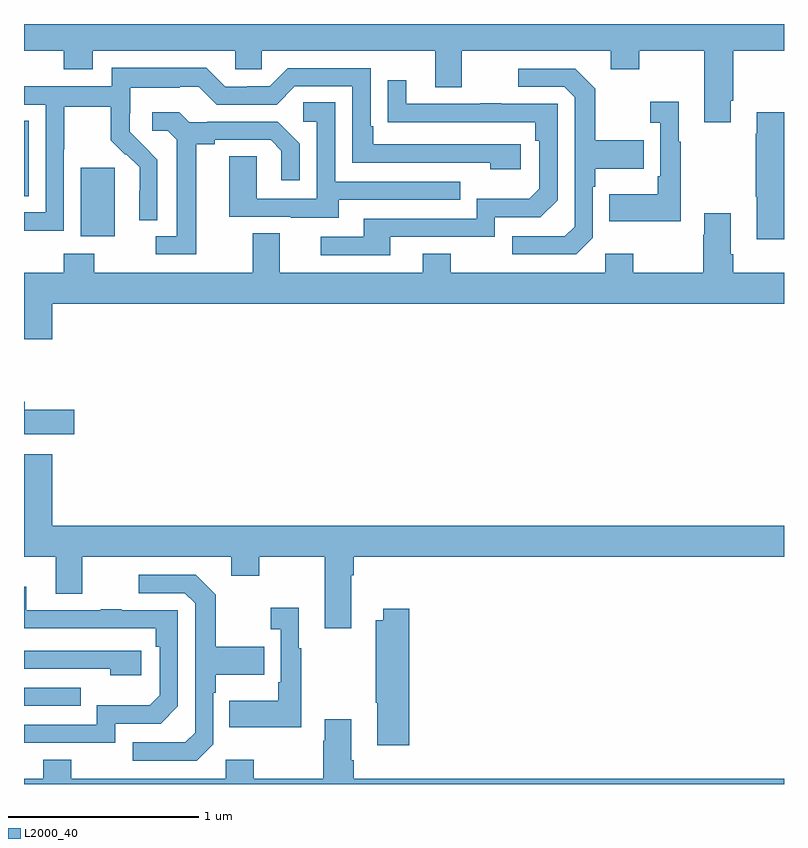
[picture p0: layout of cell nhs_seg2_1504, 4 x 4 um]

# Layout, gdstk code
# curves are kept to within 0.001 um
import gdstk
lib = gdstk.Library(unit=1e-6, precision=1e-09)
def R(c, l, rs):  # rectangles x0, y0, x1, y1
    for r in rs: c.add(gdstk.rectangle(r[:2], r[2:], *l))
def P(c, l, *ps):  # polygons
    for p in ps: c.add(gdstk.Polygon(p, *l))
L2000_40 = (2000, 40)

nhs_seg2_1504 = lib.new_cell('nhs_seg2_1504')
R(nhs_seg2_1504, L2000_40, [(189,620.211,189.299,620.307), (189.299,622.682,189.478,623.043), (189,622.894,189.025,623.291)])
P(nhs_seg2_1504, L2000_40, [(189,623.66),(189.209,623.66),(189.209,623.561),(189.361,623.561),(189.361,623.66),(190.113,623.66),(190.113,623.562),(190.251,623.562),(190.251,623.66),(191.165,623.66),(191.165,623.466),(191.305,623.466),(191.305,623.66),(192.089,623.66),(192.089,623.561),(192.237,623.561),(192.237,623.66),(192.581,623.66),(192.581,623.283),(192.721,623.283),(192.721,623.395),(192.734,623.395),(192.734,623.66),(193,623.66),(193,623.8),(189,623.8)],
  [(189.21,623.14),(189.213,623.14),(189.213,623.364),(189.457,623.364),(189.457,623.189),(189.534,623.112),(189.537,623.115),(189.608,623.045),(189.608,622.922),(189.606,622.922),(189.606,622.768),(189.702,622.768),(189.702,623.086),(189.556,623.234),(189.556,623.331),(189.558,623.331),(189.558,623.465),(189.821,623.465),(189.821,623.469),(189.921,623.469),(190.014,623.376),(190.329,623.376),(190.425,623.472),(190.728,623.472),(190.728,623.07),(191.453,623.07),(191.453,623.036),(191.614,623.036),(191.614,623.166),(190.837,623.166),(190.837,623.263),(190.824,623.263),(190.824,623.568),(190.389,623.568),(190.293,623.472),(190.175,623.472),(190.175,623.469),(190.059,623.469),(189.959,623.569),(189.462,623.569),(189.462,623.472),(189,623.472),(189,623.376),(189.114,623.376),(189.114,622.809),(189,622.809),(189,622.711),(189.21,622.711)],
  [(191.994,622.674),(191.994,622.943),(192.007,622.943),(192.007,623.039),(192.263,623.039),(192.263,623.187),(192.007,623.187),(192.007,623.459),(191.901,623.565),(191.601,623.565),(191.601,623.469),(191.844,623.469),(191.898,623.415),(191.898,622.734),(191.847,622.683),(191.571,622.683),(191.571,622.587),(191.907,622.587)],
  [(190.927,622.68),(191.478,622.68),(191.478,622.782),(191.718,622.782),(191.808,622.872),(191.808,623.379),(191.513,623.379),(191.513,623.384),(191.401,623.384),(191.401,623.379),(191.011,623.379),(191.011,623.503),(190.915,623.503),(190.915,623.284),(191.692,623.283),(191.692,623.186),(191.712,623.186),(191.712,622.932),(191.659,622.879),(191.382,622.879),(191.382,622.776),(190.787,622.776),(190.787,622.68),(190.563,622.68),(190.563,622.584),(190.927,622.584)],
  [(192.457,623.179),(192.445,623.179),(192.445,623.392),(192.297,623.392),(192.297,623.279),(192.348,623.279),(192.348,622.999),(192.336,622.999),(192.336,622.903),(192.079,622.903),(192.079,622.763),(192.457,622.763)],
  [(190.657,622.875),(191.297,622.875),(191.297,622.971),(190.638,622.971),(190.638,623.387),(190.47,623.387),(190.47,623.286),(190.542,623.286),(190.542,622.881),(190.224,622.881),(190.224,623.105),(190.079,623.105),(190.079,622.785),(190.403,622.785),(190.403,622.781),(190.657,622.781)],
  [(189.907,623.168),(190.003,623.168),(190.003,623.19),(190.298,623.19),(190.355,623.133),(190.355,622.977),(190.452,622.977),(190.452,623.17),(190.336,623.286),(189.964,623.286),(189.964,623.283),(189.87,623.283),(189.818,623.335),(189.675,623.335),(189.675,623.238),(189.756,623.238),(189.803,623.191),(189.803,622.683),(189.693,622.683),(189.693,622.587),(189.907,622.587)],
  [(193,623.335),(192.857,623.335),(192.857,623.222),(192.85,623.222),(192.85,622.891),(192.857,622.891),(192.857,622.668),(193,622.668)],
  [(189.148,622.328),(193,622.328),(193,622.492),(192.734,622.492),(192.734,622.588),(192.721,622.588),(192.721,622.804),(192.581,622.804),(192.581,622.691),(192.574,622.691),(192.574,622.492),(192.207,622.492),(192.207,622.591),(192.06,622.591),(192.06,622.492),(191.247,622.492),(191.247,622.591),(191.099,622.591),(191.099,622.492),(190.345,622.492),(190.345,622.7),(190.205,622.7),(190.205,622.492),(189.369,622.492),(189.369,622.591),(189.209,622.591),(189.209,622.492),(189,622.492),(189,622.14),(189.148,622.14)],
  [(189.265,621.771),(189.004,621.771),(189.004,621.812),(189,621.812),(189,621.641),(189.265,621.641)],
  [(190.723,620.9),(190.736,620.9),(190.736,620.996),(193,620.996),(193,621.16),(189.148,621.16),(189.148,621.535),(189,621.535),(189,620.996),(189.167,620.996),(189.167,620.802),(189.307,620.802),(189.307,620.996),(190.091,620.996),(190.091,620.897),(190.239,620.897),(190.239,620.996),(190.583,620.996),(190.583,620.619),(190.723,620.619)],
  [(189.996,620.01),(189.996,620.279),(190.009,620.279),(190.009,620.375),(190.265,620.375),(190.265,620.523),(190.009,620.523),(190.009,620.795),(189.903,620.901),(189.603,620.901),(189.603,620.805),(189.846,620.805),(189.9,620.751),(189.9,620.07),(189.849,620.019),(189.573,620.019),(189.573,619.923),(189.909,619.923)],
  [(189.48,620.118),(189.72,620.118),(189.81,620.208),(189.81,620.715),(189.515,620.715),(189.515,620.72),(189.403,620.72),(189.403,620.715),(189.013,620.715),(189.013,620.839),(189,620.839),(189,620.62),(189.694,620.619),(189.694,620.522),(189.714,620.522),(189.714,620.268),(189.661,620.215),(189.384,620.215),(189.384,620.112),(189,620.112),(189,620.016),(189.48,620.016)],
  [(190.459,620.515),(190.447,620.515),(190.447,620.728),(190.299,620.728),(190.299,620.615),(190.35,620.615),(190.35,620.335),(190.338,620.335),(190.338,620.239),(190.081,620.239),(190.081,620.099),(190.459,620.099)],
  [(191.027,620.722),(190.892,620.722),(190.892,620.662),(190.852,620.662),(190.852,620.227),(190.859,620.227),(190.859,620.004),(191.027,620.004)],
  [(189.616,620.502),(189,620.502),(189,620.406),(189.455,620.406),(189.455,620.372),(189.616,620.372)],
  [(193,619.828),(190.736,619.828),(190.736,619.924),(190.723,619.924),(190.723,620.14),(190.583,620.14),(190.583,620.027),(190.576,620.027),(190.576,619.828),(190.209,619.828),(190.209,619.927),(190.062,619.927),(190.062,619.828),(189.249,619.828),(189.249,619.927),(189.101,619.927),(189.101,619.828),(189,619.828),(189,619.8),(193,619.8)])

lib.write_gds('nhs_seg2_1504.gds')
